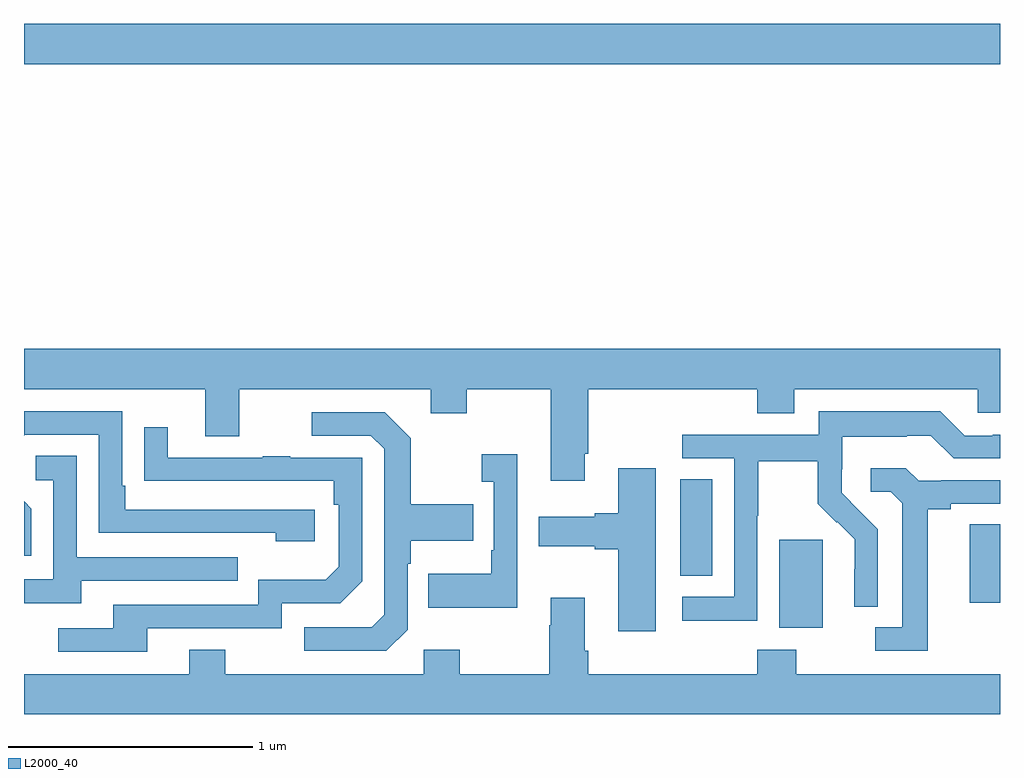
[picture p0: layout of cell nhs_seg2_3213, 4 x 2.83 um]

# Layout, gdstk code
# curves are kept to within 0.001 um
import gdstk
lib = gdstk.Library(unit=1e-6, precision=1e-09)
def R(c, l, rs):  # rectangles x0, y0, x1, y1
    for r in rs: c.add(gdstk.rectangle(r[:2], r[2:], *l))
def P(c, l, *ps):  # polygons
    for p in ps: c.add(gdstk.Polygon(p, *l))
L2000_40 = (2000, 40)

nhs_seg2_3213 = lib.new_cell('nhs_seg2_3213')
R(nhs_seg2_3213, L2000_40, [(282.095,662.642,282.274,663.003), (282.875,662.745,283,663.065), (281.69,662.854,281.821,663.251), (279,664.952,283,665.116)])
P(nhs_seg2_3213, L2000_40, [(281.299,663.355),(281.312,663.355),(281.312,663.62),(282.005,663.62),(282.005,663.521),(282.157,663.521),(282.157,663.62),(282.909,663.62),(282.909,663.522),(283,663.522),(283,663.784),(279,663.784),(279,663.62),(279.743,663.62),(279.743,663.426),(279.883,663.426),(279.883,663.62),(280.667,663.62),(280.667,663.521),(280.815,663.521),(280.815,663.62),(281.159,663.62),(281.159,663.243),(281.299,663.243)],
  [(282.006,663.1),(282.009,663.1),(282.009,663.324),(282.253,663.324),(282.253,663.149),(282.33,663.072),(282.333,663.075),(282.404,663.005),(282.404,662.882),(282.402,662.882),(282.402,662.728),(282.498,662.728),(282.498,663.046),(282.352,663.194),(282.352,663.291),(282.354,663.291),(282.354,663.425),(282.617,663.425),(282.617,663.429),(282.717,663.429),(282.81,663.336),(283,663.336),(283,663.432),(282.971,663.432),(282.971,663.429),(282.855,663.429),(282.755,663.529),(282.258,663.529),(282.258,663.432),(281.697,663.432),(281.697,663.336),(281.91,663.336),(281.91,662.769),(281.697,662.769),(281.697,662.671),(282.006,662.671)],
  [(280.192,663.126),(279.415,663.126),(279.415,663.223),(279.402,663.223),(279.402,663.528),(279,663.528),(279,663.429),(279.003,663.432),(279.306,663.432),(279.306,663.03),(280.031,663.03),(280.031,662.996),(280.192,662.996)],
  [(280.572,662.634),(280.572,662.903),(280.585,662.903),(280.585,662.999),(280.841,662.999),(280.841,663.147),(280.585,663.147),(280.585,663.419),(280.479,663.525),(280.179,663.525),(280.179,663.429),(280.422,663.429),(280.476,663.375),(280.476,662.694),(280.425,662.643),(280.149,662.643),(280.149,662.547),(280.485,662.547)],
  [(279.505,662.64),(280.056,662.64),(280.056,662.742),(280.296,662.742),(280.386,662.832),(280.386,663.339),(280.091,663.339),(280.091,663.344),(279.979,663.344),(279.979,663.339),(279.589,663.339),(279.589,663.463),(279.493,663.463),(279.493,663.244),(280.27,663.243),(280.27,663.146),(280.29,663.146),(280.29,662.892),(280.237,662.839),(279.96,662.839),(279.96,662.736),(279.365,662.736),(279.365,662.64),(279.141,662.64),(279.141,662.544),(279.505,662.544)],
  [(281.022,663.352),(280.875,663.352),(280.875,663.239),(280.926,663.239),(280.926,662.959),(280.914,662.959),(280.914,662.863),(280.657,662.863),(280.657,662.723),(281.022,662.723)],
  [(279.235,662.835),(279.875,662.835),(279.875,662.931),(279.216,662.931),(279.216,663.347),(279.048,663.347),(279.048,663.246),(279.12,663.246),(279.12,662.841),(279,662.841),(279,662.741),(279.235,662.741)],
  [(282.703,663.128),(282.799,663.128),(282.799,663.15),(283,663.15),(283,663.246),(282.76,663.246),(282.76,663.243),(282.666,663.243),(282.614,663.295),(282.471,663.295),(282.471,663.198),(282.552,663.198),(282.599,663.151),(282.599,662.643),(282.489,662.643),(282.489,662.547),(282.703,662.547)],
  [(281.59,663.295),(281.435,663.295),(281.435,663.11),(281.339,663.11),(281.339,663.097),(281.109,663.097),(281.109,662.975),(281.339,662.975),(281.339,662.963),(281.435,662.963),(281.435,662.628),(281.59,662.628)],
  [(279.03,663.13),(279,663.16),(279,662.937),(279.03,662.937)],
  [(283,662.452),(282.165,662.452),(282.165,662.551),(282.005,662.551),(282.005,662.452),(281.312,662.452),(281.312,662.548),(281.299,662.548),(281.299,662.764),(281.159,662.764),(281.159,662.651),(281.152,662.651),(281.152,662.452),(280.785,662.452),(280.785,662.551),(280.638,662.551),(280.638,662.452),(279.825,662.452),(279.825,662.551),(279.677,662.551),(279.677,662.452),(279,662.452),(279,662.288),(283,662.288)])

lib.write_gds('nhs_seg2_3213.gds')
